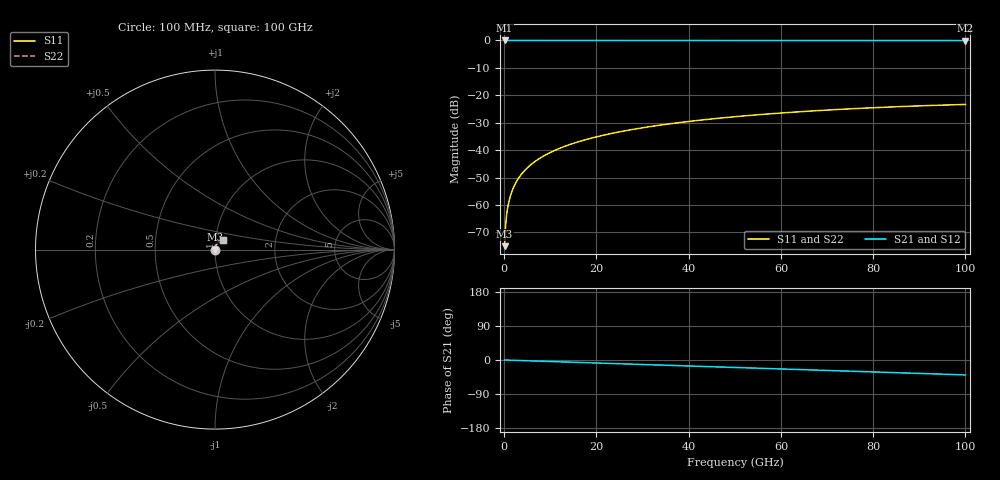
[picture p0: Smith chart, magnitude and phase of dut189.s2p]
! Touchstone file exported from HFSS 2026.1.0
!  File:  C:/ffzhzh/LocalFiles/Ansys_Project_Files/temp_train_TSV_189_1783507284_44152.aedt
!  Generated:  06:42:45 PM Jul  8, 2026
!  Design:  TSV
!  Project:  temp_train_TSV_189_1783507284_44152
! Variables:
!  h_bsmrdl = 2um
!  h_ox = 20um
!  h_rdl = 5um
!  h_sub = 76.97um
!  h_tmrdl = 5um
!  h_tsv = 76.97um
!  h_via = 3um
!  l_bsmrdl = 300um
!  l_sub = 420.02um
!  l_tmrdl = 200um
!  m_sub = 200um
!  pitch = 46.58um
!  r_tsv = 10.01um
!  s_tmrdl = 10um
!  w_bsmrdl = 18um
!  w_sub = 500um
!  w_tmrdl = 12um
!  x_tsv_center1 = 206um
!  x_tsv_center2 = 524um
!  x_tsv_center3 = 736um
!  x_tsv_center4 = 1054um
!  x_tsv_center5 = 1266um
!  x_tsv_center6 = 1584um
# GHz S MA R 50.000000
! Terminal data exported
! Port[1] = TSV1_1_T1
! Port[2] = TSV1_1_T2
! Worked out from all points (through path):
!   1000 points, 100 MHz to 100 GHz, reference 50 ohm
!   highest |S21| = 0.00 dB at 100 MHz (marker M1); lowest = 0.0 dB at 100 GHz (marker M2)
!   group delay of S21, straight-line fit = 1.09 ps
!   lowest |S11| = -75.0 dB at 100 MHz (marker M3), VSWR 1.00, Z = 50 + j0.0128 ohm
!   |S11| at or under -10 dB: start of sweep to end of sweep
!   |S22| runs from -75.0 to -23.3 dB; largest |S21 - S12| = 5.7e-15
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0.1  0.0001771 46.2  0.9999 -0.0  0.9999 -0.0  0.0001771 46.2
! Gamma 0 0 0 0
! Port Impedance 50 0 50 0
0.4  0.0005136 70.3  0.9998 -0.2  0.9998 -0.2  0.0005136 70.3
0.7  0.0008271 73.6  0.9998 -0.3  0.9998 -0.3  0.0008271 73.6
0.8  0.000926 74.3  0.9998 -0.3  0.9998 -0.3  0.000926 74.3
1.1  0.001215 75.9  0.9997 -0.4  0.9997 -0.4  0.001215 75.9
1.4  0.001499 77.0  0.9997 -0.6  0.9997 -0.6  0.001499 77.0
1.9  0.001965 78.3  0.9996 -0.8  0.9996 -0.8  0.001965 78.3
2.4  0.002425 79.0  0.9996 -1.0  0.9996 -1.0  0.002425 79.0
3.1  0.003058 79.7  0.9995 -1.2  0.9995 -1.2  0.003058 79.7
3.9  0.00377 80.2  0.9995 -1.6  0.9995 -1.6  0.00377 80.2
4.9  0.004649 80.6  0.9994 -2.0  0.9994 -2.0  0.004649 80.6
6.1  0.005696 80.8  0.9993 -2.4  0.9993 -2.4  0.005696 80.8
8.9  0.008115 80.7  0.9992 -3.5  0.9992 -3.5  0.008115 80.7
12.4  0.0111 80.0  0.999 -4.9  0.999 -4.9  0.0111 80.0
16.8  0.01479 78.9  0.9988 -6.6  0.9988 -6.6  0.01479 78.9
24.2  0.02088 76.7  0.9984 -9.6  0.9984 -9.6  0.02088 76.7
33.4  0.02823 73.6  0.998 -13.2  0.998 -13.2  0.02823 73.6
41.2  0.03422 70.8  0.9976 -16.2  0.9976 -16.2  0.03422 70.8
50.1  0.04073 67.6  0.9972 -19.7  0.9972 -19.7  0.04073 67.6
66.7  0.05176 61.4  0.9964 -26.2  0.9964 -26.2  0.05176 61.4
83.4  0.06106 55.0  0.9955 -32.8  0.9955 -32.8  0.06107 55.0
100  0.06806 48.7  0.9947 -39.4  0.9947 -39.4  0.06806 48.7
